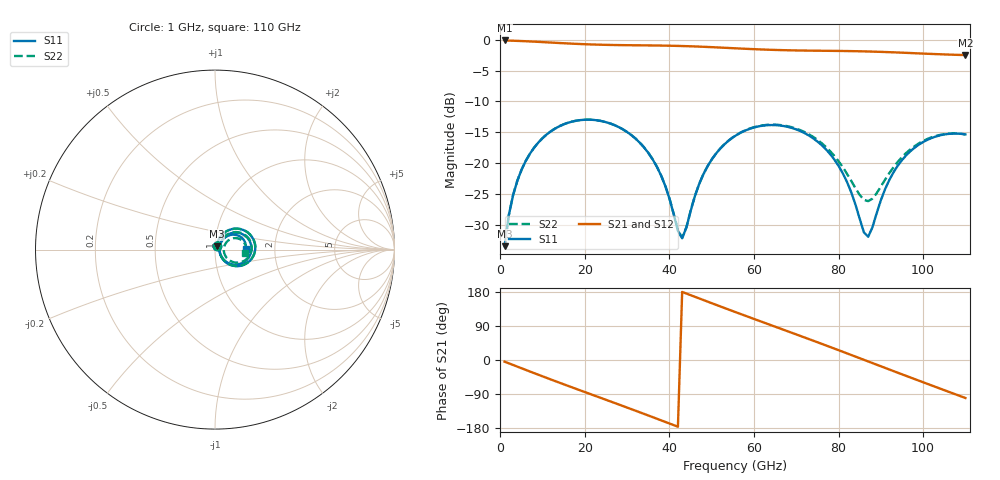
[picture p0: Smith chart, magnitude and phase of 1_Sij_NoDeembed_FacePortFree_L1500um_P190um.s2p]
! Touchstone file exported from HFSS 2024.2.0
!  File:  C:/Users/vaintrug/Documents/Ansoft_Workspace/Comparaison_Calculs_HFSS/1_VarPort.aedt
!  Generated:  03:22:16 PM Jan 21, 2025
!  Design:  1_NoDeembed_FacePortFree
!  Project:  1_VarPort
!  Setup:  Setup1
!  Solution:  Sweep
! Variables:
!  $Lenght = 1500um
!  $PortSize = 190um
!  Gap = 30um
!  Th = 2um
!  X_centralStrip = 20um
!  X_masse = 200um
!  Y_Sub = 1.5mm
!  Z_Box = 400um
!  Z_Sub = 200um
# GHz S MA R 50.000000
! Terminal data exported
! Port[1] = 1
! Port[2] = 2
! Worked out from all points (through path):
!   110 points, 1 GHz to 110 GHz, reference 50 ohm
!   highest |S21| = -0.10 dB at 1 GHz (marker M1); lowest = -2.5 dB at 110 GHz (marker M2)
!   group delay of S21, straight-line fit = 11.6 ps
!   lowest |S11| = -33.5 dB at 1 GHz (marker M3), VSWR 1.04, Z = 50.9 + j1.92 ohm
!   |S11| at or under -10 dB: start of sweep to end of sweep
!   |S22| runs from -33.5 to -13.0 dB; largest |S21 - S12| = 1.5e-14
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1  0.02114 62.9  0.9891 -4.4  0.9891 -4.4  0.02114 62.9
! Gamma 5.82946811236371 49.8850278037201 5.94153937482066 50.1106733575327
! Port Impedance 50 0 50 0
2  0.03782 69.7  0.9865 -8.8  0.9865 -8.8  0.03782 69.7
3  0.05482 70.0  0.984 -13.1  0.984 -13.1  0.05482 70.0
7  0.1192 58.3  0.9711 -30.4  0.9711 -30.4  0.1192 58.4
14  0.1993 31.1  0.9427 -60.0  0.9427 -60.0  0.1994 31.3
20  0.2247 7.8  0.922 -84.7  0.922 -84.7  0.2248 8.1
29  0.1876 -25.6  0.9061 -121.5  0.9061 -121.5  0.1878 -25.1
34  0.1337 -42.3  0.9023 -142.3  0.9023 -142.3  0.1339 -41.6
38  0.07946 -50.8  0.8989 -159.1  0.8989 -159.1  0.07972 -50.0
43  0.0245 5.1  0.8912 179.6  0.8912 179.6  0.0248 5.7
47  0.0672 53.8  0.8816 162.6  0.8816 162.6  0.06733 54.6
49  0.09404 52.2  0.8757 154.1  0.8757 154.1  0.09422 53.1
56  0.1699 31.9  0.8528 124.8  0.8528 124.8  0.1705 33.4
65  0.2032 0.3  0.8285 87.9  0.8285 87.9  0.205 3.1
74  0.1588 -30.6  0.8172 51.0  0.8172 51.0  0.163 -25.0
81  0.08255 -48.5  0.8122 21.7  0.8122 21.7  0.09248 -36.5
86  0.02736 -19.0  0.8063 0.5  0.8063 0.5  0.05032 -10.6
87  0.02522 7.1  0.8047 -3.8  0.8047 -3.8  0.04901 1.3
92  0.07288 51.6  0.7946 -25.0  0.7946 -25.0  0.08281 33.9
96  0.1156 44.2  0.7845 -42.0  0.7845 -42.0  0.1208 31.7
101  0.1544 29.4  0.7714 -62.9  0.7714 -62.9  0.1569 19.8
110  0.171 0.7  0.7525 -100.3  0.7525 -100.3  0.1708 -7.0
